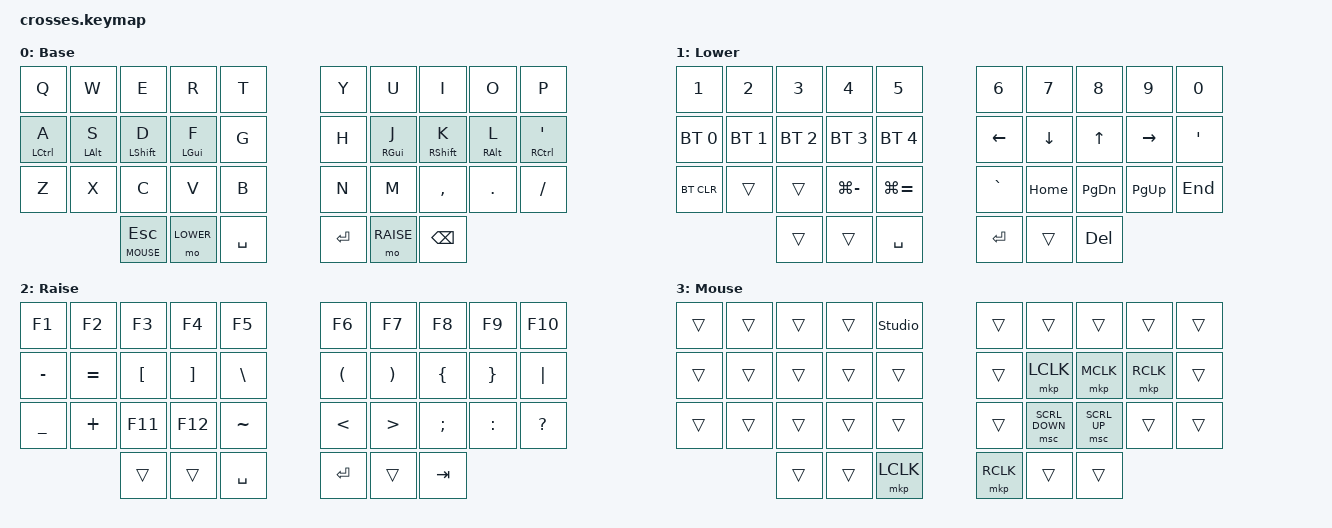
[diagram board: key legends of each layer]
#include <behaviors.dtsi>
#include <dt-bindings/zmk/bt.h>
#include <dt-bindings/zmk/keys.h>
#include <dt-bindings/zmk/pointing.h>

/*
 * Layer indices — keep in sync with DONGLE_LAYER_MOUSE in
 * boards/shields/crosses_dongle/crosses_dongle.overlay.
 */
#define BASE   0
#define LOWER  1
#define RAISE  2
#define MOUSE  3

/ {
    behaviors {
        /*
         * Home-row mod hold-tap. Balanced flavor + 150ms prior-idle keeps
         * fast typing from misfiring as a modifier hold.
         */
        hm: home_row_mod {
            compatible = "zmk,behavior-hold-tap";
            #binding-cells = <2>;
            tapping-term-ms = <200>;
            quick-tap-ms = <175>;
            require-prior-idle-ms = <150>;
            flavor = "balanced";
            bindings = <&kp>, <&kp>;
        };
    };

    combos {
        compatible = "zmk,combos";

        /* Both shifts → caps_word, mirroring the .vil reference. */
        combo_caps_word {
            timeout-ms = <40>;
            /* &hm LSHFT D (pos 12) + &hm RSHFT K (pos 16) on the 36-key layout. */
            key-positions = <12 16>;
            bindings = <&caps_word>;
            layers = <BASE>;
        };
    };

    keymap {
        compatible = "zmk,keymap";

        default_layer {
            display-name = "Base";
            bindings = <
&kp Q          &kp W         &kp E         &kp R          &kp T              &kp Y      &kp U          &kp I         &kp O         &kp P
&hm LCTRL A    &hm LALT S    &hm LSHFT D   &hm LGUI F     &kp G              &kp H      &hm RGUI J     &hm RSHFT K   &hm RALT L    &hm RCTRL SQT
&kp Z          &kp X         &kp C         &kp V          &kp B              &kp N      &kp M          &kp COMMA     &kp DOT       &kp FSLH
                             &lt MOUSE ESC &mo LOWER      &kp SPACE          &kp RET    &mo RAISE      &kp BSPC
            >;
        };

        lower_layer {
            display-name = "Lower";
            bindings = <
&kp N1         &kp N2        &kp N3        &kp N4         &kp N5             &kp N6     &kp N7         &kp N8        &kp N9        &kp N0
&bt BT_SEL 0   &bt BT_SEL 1  &bt BT_SEL 2  &bt BT_SEL 3   &bt BT_SEL 4       &kp LEFT   &kp DOWN       &kp UP        &kp RIGHT     &kp SQT
&bt BT_CLR     &trans        &trans        &kp LG(MINUS)  &kp LG(EQUAL)      &kp GRAVE  &kp HOME       &kp PG_DN     &kp PG_UP     &kp END
                             &trans        &trans         &kp SPACE          &kp RET    &trans         &kp DEL
            >;
        };

        raise_layer {
            display-name = "Raise";
            bindings = <
&kp F1         &kp F2        &kp F3        &kp F4         &kp F5             &kp F6     &kp F7         &kp F8        &kp F9        &kp F10
&kp MINUS      &kp EQUAL     &kp LBKT      &kp RBKT       &kp BSLH           &kp LPAR   &kp RPAR       &kp LBRC      &kp RBRC      &kp PIPE
&kp UNDER      &kp PLUS      &kp F11       &kp F12        &kp TILDE          &kp LT     &kp GT         &kp SEMI      &kp COLON     &kp QMARK
                             &trans        &trans         &kp SPACE          &kp RET    &trans         &kp TAB
            >;
        };

        mouse_layer {
            display-name = "Mouse";
            bindings = <
&trans         &trans        &trans        &trans         &studio_unlock     &trans     &trans         &trans        &trans        &trans
&trans         &trans        &trans        &trans         &trans             &trans     &mkp LCLK      &mkp MCLK     &mkp RCLK     &trans
&trans         &trans        &trans        &trans         &trans             &trans     &msc SCRL_DOWN &msc SCRL_UP  &trans        &trans
                             &trans        &trans         &mkp LCLK          &mkp RCLK  &trans         &trans
            >;
        };
    };
};
